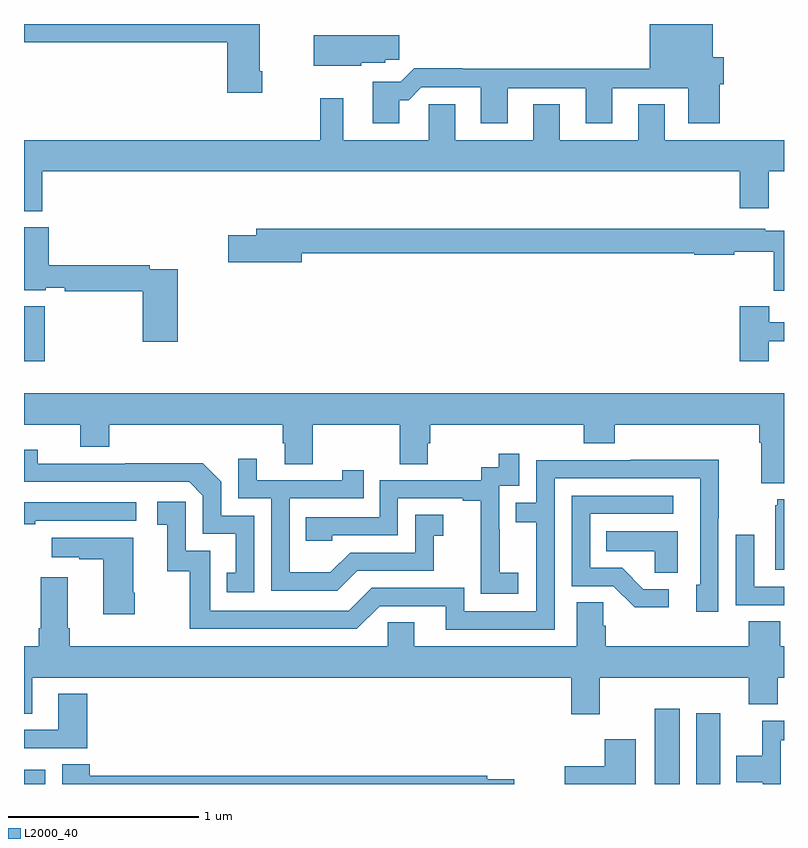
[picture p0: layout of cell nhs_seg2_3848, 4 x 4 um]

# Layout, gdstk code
import gdstk
lib = gdstk.Library(unit=1e-6, precision=1e-09)
def R(c, l, rs):  # rectangles x0, y0, x1, y1
    for r in rs: c.add(gdstk.rectangle(r[:2], r[2:], *l))
def P(c, l, *ps):  # polygons
    for p in ps: c.add(gdstk.Polygon(p, *l))
L2000_40 = (2000, 40)

nhs_seg2_3848 = lib.new_cell('nhs_seg2_3848')
R(nhs_seg2_3848, L2000_40, [(315,589.8,315.112,589.876), (318.32,589.8,318.451,590.197), (318.539,589.8,318.664,590.173), (315,592.026,315.11,592.315)])
P(nhs_seg2_3848, L2000_40, [(316.975,593.399),(317.024,593.399),(317.091,593.466),(317.405,593.466),(317.405,593.277),(317.545,593.277),(317.545,593.463),(317.957,593.463),(317.957,593.277),(318.097,593.277),(318.097,593.463),(318.497,593.463),(318.497,593.277),(318.662,593.277),(318.662,593.482),(318.682,593.482),(318.682,593.624),(318.625,593.624),(318.625,593.8),(318.293,593.8),(318.293,593.564),(317.309,593.564),(317.309,593.567),(317.054,593.567),(316.983,593.496),(316.835,593.496),(316.835,593.277),(316.975,593.277)],
  [(316.253,593.551),(316.24,593.551),(316.24,593.8),(315,593.8),(315,593.704),(316.07,593.704),(316.07,593.439),(316.253,593.439)],
  [(316.776,593.597),(316.902,593.597),(316.902,593.611),(316.975,593.611),(316.975,593.74),(316.526,593.74),(316.526,593.579),(316.776,593.579)],
  [(315.095,593.024),(318.767,593.024),(318.767,592.83),(318.919,592.83),(318.919,593.024),(319,593.024),(319,593.188),(318.373,593.188),(318.373,593.378),(318.233,593.378),(318.233,593.188),(317.821,593.188),(317.821,593.378),(317.681,593.378),(317.681,593.188),(317.269,593.188),(317.269,593.378),(317.13,593.378),(317.13,593.188),(316.681,593.188),(316.681,593.41),(316.56,593.41),(316.56,593.188),(315,593.188),(315,592.814),(315.095,592.814)],
  [(315.809,592.509),(315.662,592.509),(315.662,592.529),(315.131,592.529),(315.131,592.729),(315,592.729),(315,592.4),(315.114,592.4),(315.114,592.413),(315.214,592.413),(315.214,592.393),(315.626,592.393),(315.626,592.128),(315.809,592.128)],
  [(319,592.711),(318.9,592.711),(318.9,592.723),(316.223,592.723),(316.223,592.689),(316.074,592.689),(316.074,592.547),(316.462,592.547),(316.462,592.594),(318.528,592.594),(318.528,592.586),(318.738,592.586),(318.738,592.601),(318.946,592.601),(318.946,592.397),(319,592.397)],
  [(318.919,592.131),(319,592.131),(319,592.231),(318.922,592.231),(318.922,592.315),(318.767,592.315),(318.767,592.026),(318.919,592.026)],
  [(319,591.856),(315,591.856),(315,591.692),(315.296,591.692),(315.296,591.575),(315.449,591.575),(315.449,591.692),(316.361,591.692),(316.361,591.594),(316.373,591.594),(316.373,591.484),(316.521,591.484),(316.521,591.692),(316.978,591.692),(316.978,591.484),(317.125,591.484),(317.125,591.594),(317.138,591.594),(317.138,591.692),(317.945,591.692),(317.945,591.593),(318.11,591.593),(318.11,591.692),(318.869,591.692),(318.869,591.596),(318.881,591.596),(318.881,591.383),(319,591.383)],
  [(316.212,591.213),(316.038,591.213),(316.038,591.39),(315.94,591.488),(315.532,591.488),(315.532,591.486),(315.072,591.486),(315.072,591.559),(315,591.559),(315,591.39),(315.87,591.39),(315.942,591.318),(315.942,591.117),(316.115,591.117),(316.115,590.913),(316.066,590.913),(316.066,590.808),(316.212,590.808)],
  [(317.602,590.911),(317.504,590.911),(317.504,591.14),(317.502,591.14),(317.502,591.369),(317.607,591.369),(317.607,591.538),(317.499,591.538),(317.499,591.468),(317.406,591.468),(317.406,591.399),(316.872,591.399),(316.872,591.204),(316.483,591.204),(316.483,591.081),(316.623,591.081),(316.623,591.108),(316.968,591.108),(316.968,591.303),(317.309,591.303),(317.309,591.291),(317.405,591.291),(317.405,591.007),(317.404,591.007),(317.404,590.801),(317.602,590.801)],
  [(316.753,590.922),(317.157,590.922),(317.157,591.107),(317.206,591.107),(317.206,591.217),(317.058,591.217),(317.058,591.018),(316.716,591.018),(316.612,590.914),(316.398,590.914),(316.398,591.303),(316.787,591.303),(316.787,591.451),(316.676,591.451),(316.676,591.399),(316.225,591.399),(316.225,591.511),(316.128,591.511),(316.128,591.303),(316.302,591.303),(316.302,590.817),(316.648,590.817)],
  [(317.793,591.408),(318.558,591.408),(318.558,590.85),(318.539,590.85),(318.539,590.706),(318.654,590.706),(318.654,591.199),(318.657,591.199),(318.657,591.506),(318.193,591.506),(318.193,591.504),(317.697,591.504),(317.697,591.279),(317.587,591.279),(317.587,591.178),(317.697,591.178),(317.697,590.709),(317.316,590.709),(317.316,590.832),(316.83,590.832),(316.71,590.712),(315.981,590.712),(315.981,591.027),(315.852,591.027),(315.852,591.286),(315.702,591.286),(315.702,591.165),(315.755,591.165),(315.755,590.919),(315.873,590.919),(315.873,590.616),(316.752,590.616),(316.872,590.736),(317.219,590.736),(317.219,590.613),(317.793,590.613)],
  [(318.394,590.826),(318.259,590.826),(318.148,590.937),(317.979,590.937),(317.979,591.222),(318.418,591.222),(318.418,591.318),(317.883,591.318),(317.883,590.841),(318.102,590.841),(318.215,590.729),(318.394,590.729)],
  [(319,591.298),(318.965,591.298),(318.965,591.267),(318.953,591.267),(318.953,590.927),(319,590.927)],
  [(315.059,591.186),(315.592,591.186),(315.592,591.282),(315,591.282),(315,591.166),(315.059,591.166)],
  [(318.442,591.13),(318.064,591.13),(318.064,591.026),(318.321,591.026),(318.321,590.911),(318.442,590.911)],
  [(319,590.838),(318.843,590.838),(318.843,591.112),(318.747,591.112),(318.747,590.742),(319,590.742)],
  [(315.582,590.806),(315.574,590.806),(315.574,591.097),(315.147,591.097),(315.147,590.993),(315.29,590.993),(315.29,590.983),(315.416,590.983),(315.416,590.694),(315.582,590.694)],
  [(318.031,590.36),(318.815,590.36),(318.815,590.219),(318.967,590.219),(318.967,590.36),(319,590.36),(319,590.524),(318.98,590.524),(318.98,590.657),(318.815,590.657),(318.815,590.524),(318.062,590.524),(318.062,590.633),(318.048,590.633),(318.048,590.756),(317.909,590.756),(317.909,590.524),(317.053,590.524),(317.053,590.651),(316.914,590.651),(316.914,590.524),(315.242,590.524),(315.242,590.62),(315.229,590.62),(315.229,590.887),(315.089,590.887),(315.089,590.62),(315.077,590.62),(315.077,590.524),(315,590.524),(315,590.17),(315.043,590.17),(315.043,590.36),(317.879,590.36),(317.879,590.166),(318.031,590.166)],
  [(315.332,590.275),(315.179,590.275),(315.179,590.085),(315,590.085),(315,589.989),(315.332,589.989)],
  [(318.984,590.03),(319,590.03),(319,590.134),(318.886,590.134),(318.886,589.948),(318.749,589.948),(318.749,589.808),(318.888,589.808),(318.888,589.8),(318.984,589.8)],
  [(318.22,590.035),(318.056,590.035),(318.056,589.894),(317.847,589.894),(317.847,589.8),(318.22,589.8)],
  [(317.58,589.824),(317.438,589.824),(317.438,589.844),(315.347,589.844),(315.347,589.904),(315.2,589.904),(315.2,589.8),(317.58,589.8)])

lib.write_gds('nhs_seg2_3848.gds')
